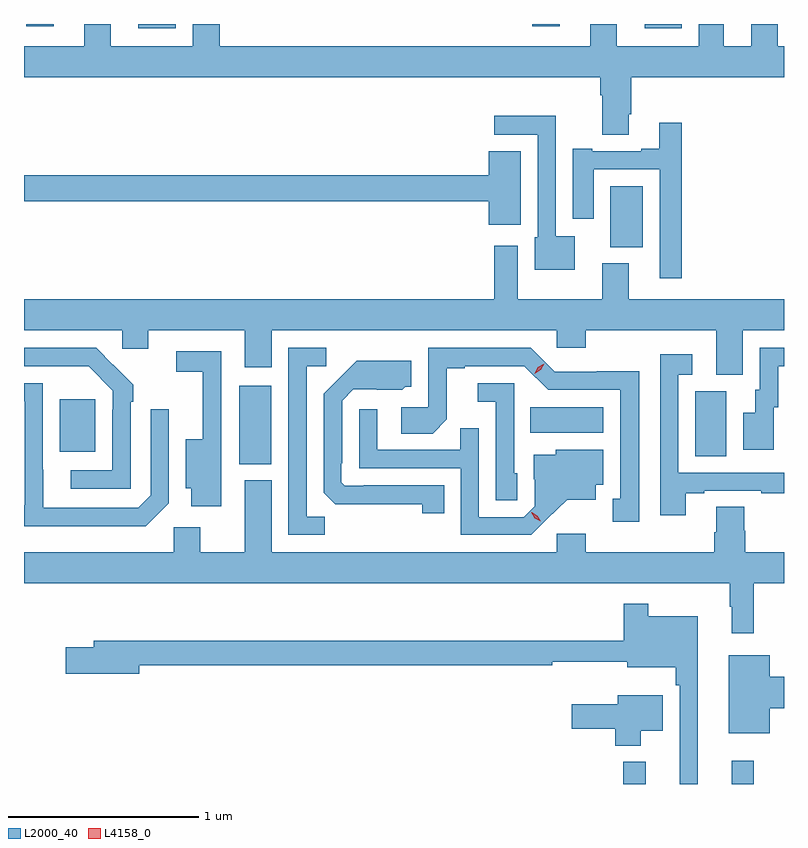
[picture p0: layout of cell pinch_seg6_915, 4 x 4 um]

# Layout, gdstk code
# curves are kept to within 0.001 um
import gdstk
lib = gdstk.Library(unit=1e-6, precision=1e-09)
def R(c, l, rs):  # rectangles x0, y0, x1, y1
    for r in rs: c.add(gdstk.rectangle(r[:2], r[2:], *l))
def P(c, l, *ps):  # polygons
    for p in ps: c.add(gdstk.Polygon(p, *l))
L2000_40 = (2000, 40)
L4158_0 = (4158, 0)

pinch_seg6_915 = lib.new_cell('pinch_seg6_915')
R(pinch_seg6_915, L2000_40, [(353.419,939.62,353.537,939.736), (353.99,939.62,354.107,939.742), (351.398,941.303,351.565,941.716), (353.798,941.344,353.962,941.688), (350.453,941.369,350.641,941.644), (352.93,941.468,353.314,941.602), (353.351,942.446,353.521,942.766), (350.867,943.598,351.063,943.62), (353.531,943.598,353.727,943.62), (350.276,943.608,350.422,943.62), (352.94,943.608,353.086,943.62)])
P(pinch_seg6_915, L2000_40, [(353.449,943.144),(353.462,943.144),(353.462,943.34),(354.265,943.34),(354.265,943.504),(354.232,943.504),(354.232,943.62),(354.092,943.62),(354.092,943.504),(353.947,943.504),(353.947,943.62),(353.816,943.62),(353.816,943.504),(353.386,943.504),(353.386,943.62),(353.246,943.62),(353.246,943.504),(351.296,943.504),(351.296,943.62),(351.152,943.62),(351.152,943.504),(350.722,943.504),(350.722,943.62),(350.582,943.62),(350.582,943.504),(350.265,943.504),(350.265,943.34),(353.297,943.34),(353.297,943.244),(353.309,943.244),(353.309,943.036),(353.449,943.036)],
  [(353.164,942.502),(353.064,942.502),(353.064,943.136),(352.74,943.136),(352.74,943.038),(352.968,943.038),(352.968,942.498),(352.952,942.498),(352.952,942.326),(353.164,942.326)],
  [(353.726,943.099),(353.609,943.099),(353.609,942.964),(353.513,942.964),(353.513,942.951),(353.257,942.951),(353.257,942.964),(353.153,942.964),(353.153,942.594),(353.263,942.594),(353.263,942.855),(353.61,942.855),(353.61,942.282),(353.726,942.282)],
  [(352.879,942.949),(352.712,942.949),(352.712,942.824),(350.265,942.824),(350.265,942.688),(352.712,942.688),(352.712,942.563),(352.879,942.563)],
  [(354.049,942.008),(354.265,942.008),(354.265,942.172),(353.449,942.172),(353.449,942.361),(353.309,942.361),(353.309,942.172),(352.864,942.172),(352.864,942.454),(352.739,942.454),(352.739,942.172),(350.265,942.172),(350.265,942.008),(350.781,942.008),(350.781,941.91),(350.92,941.91),(350.92,942.008),(351.428,942.008),(351.428,941.814),(351.568,941.814),(351.568,942.008),(353.07,942.008),(353.07,941.915),(353.222,941.915),(353.222,942.008),(353.909,942.008),(353.909,941.773),(354.049,941.773)],
  [(350.826,941.633),(350.841,941.633),(350.841,941.721),(350.644,941.916),(350.265,941.916),(350.265,941.82),(350.605,941.82),(350.733,941.691),(350.733,941.591),(350.73,941.591),(350.73,941.271),(350.511,941.271),(350.511,941.175),(350.826,941.175)],
  [(353.503,941.792),(353.28,941.792),(353.28,941.79),(353.058,941.79),(352.932,941.916),(352.392,941.916),(352.392,941.604),(352.251,941.604),(352.251,941.464),(352.415,941.464),(352.491,941.54),(352.491,941.808),(352.585,941.808),(352.585,941.82),(352.899,941.82),(353.025,941.694),(353.402,941.694),(353.402,941.121),(353.363,941.121),(353.363,941.001),(353.503,941.001)],
  [(351.849,941.027),(351.753,941.027),(351.753,941.82),(351.856,941.82),(351.856,941.916),(351.657,941.916),(351.657,940.932),(351.849,940.932)],
  [(354.211,941.604),(354.235,941.604),(354.235,941.82),(354.265,941.82),(354.265,941.916),(354.138,941.916),(354.138,941.694),(354.113,941.694),(354.113,941.575),(354.05,941.575),(354.05,941.379),(354.211,941.379)],
  [(351.304,941.313),(351.303,941.313),(351.303,941.898),(351.066,941.898),(351.066,941.79),(351.206,941.79),(351.206,941.434),(351.116,941.434),(351.116,941.177),(351.146,941.177),(351.146,941.082),(351.304,941.082)],
  [(353.749,941.151),(353.845,941.151),(353.845,941.163),(354.145,941.163),(354.145,941.151),(354.265,941.151),(354.265,941.259),(353.709,941.259),(353.709,941.775),(353.782,941.775),(353.782,941.881),(353.613,941.881),(353.613,941.034),(353.749,941.034)],
  [(352.478,941.193),(352.054,941.193),(352.054,941.19),(351.954,941.19),(351.936,941.208),(351.936,941.308),(351.939,941.308),(351.939,941.637),(351.999,941.697),(352.256,941.696),(352.272,941.712),(352.303,941.712),(352.303,941.848),(352.015,941.848),(351.843,941.674),(351.843,941.152),(351.902,941.093),(352.36,941.092),(352.36,941.046),(352.478,941.046)],
  [(351.027,941.097),(351.027,941.593),(350.931,941.593),(350.931,941.139),(350.865,941.073),(350.365,941.073),(350.364,941.73),(350.265,941.73),(350.265,941.634),(350.268,941.634),(350.268,941.086),(350.265,941.086),(350.265,940.976),(350.906,940.976)],
  [(352.86,941.256),(352.845,941.256),(352.845,941.73),(352.653,941.73),(352.653,941.633),(352.749,941.633),(352.749,941.113),(352.86,941.113)],
  [(353.02,941.015),(353.123,941.117),(353.275,941.117),(353.275,941.196),(353.314,941.196),(353.314,941.38),(353.064,941.38),(353.064,941.353),(352.949,941.353),(352.949,941.224),(352.953,941.224),(352.953,941.082),(352.896,941.025),(352.659,941.025),(352.659,941.492),(352.561,941.492),(352.561,941.379),(352.125,941.379),(352.125,941.593),(352.029,941.593),(352.029,941.283),(352.563,941.283),(352.563,940.932),(352.936,940.932)],
  [(354.107,940.676),(354.265,940.676),(354.265,940.84),(354.062,940.84),(354.062,940.953),(354.057,940.953),(354.057,941.078),(353.909,941.078),(353.909,940.946),(353.897,940.946),(353.897,940.84),(353.222,940.84),(353.222,940.936),(353.07,940.936),(353.07,940.84),(351.568,940.84),(351.568,941.218),(351.428,941.218),(351.428,940.84),(351.193,940.84),(351.193,940.972),(351.054,940.972),(351.054,940.84),(350.265,940.84),(350.265,940.676),(353.979,940.676),(353.979,940.553),(353.99,940.553),(353.99,940.413),(354.107,940.413)],
  [(353.812,940.504),(353.551,940.504),(353.551,940.57),(353.422,940.57),(353.422,940.375),(350.633,940.375),(350.633,940.341),(350.484,940.341),(350.484,940.199),(350.872,940.199),(350.872,940.246),(353.045,940.246),(353.045,940.264),(353.441,940.264),(353.441,940.235),(353.695,940.235),(353.695,940.139),(353.715,940.139),(353.715,939.62),(353.812,939.62)],
  [(354.19,940.019),(354.265,940.019),(354.265,940.184),(354.19,940.184),(354.19,940.297),(353.975,940.297),(353.975,939.887),(354.19,939.887)],
  [(353.512,939.899),(353.626,939.899),(353.626,940.087),(353.39,940.087),(353.39,940.039),(353.148,940.039),(353.148,939.91),(353.378,939.91),(353.378,939.821),(353.512,939.821)])
P(pinch_seg6_915, L4158_0, [(352.952,941.78),(352.952,941.78),(352.97,941.813),(353.002,941.832),(353.002,941.832),(353.002,941.831),(352.984,941.799),(352.953,941.78)],
  [(352.984,941.003),(352.953,941.019),(352.936,941.049),(352.936,941.049),(352.937,941.049),(352.967,941.033),(352.984,941.004),(352.984,941.003)])

lib.write_gds('pinch_seg6_915.gds')
